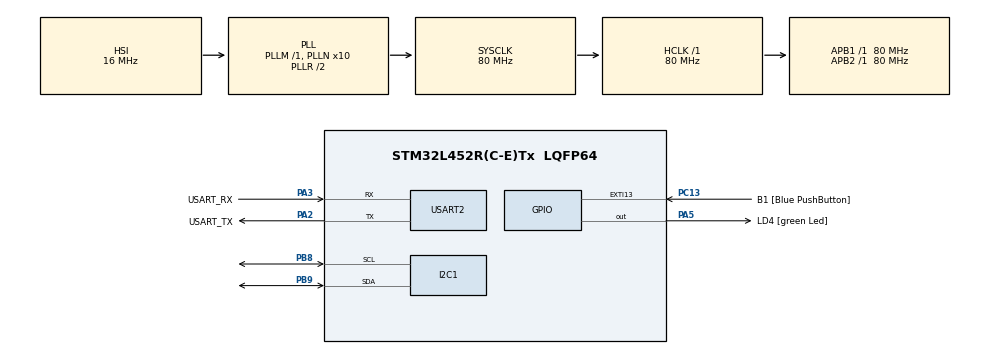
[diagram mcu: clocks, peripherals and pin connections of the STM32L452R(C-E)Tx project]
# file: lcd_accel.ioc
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I2C1.Timing=0x10909CEC
Mcu.Family=STM32L4
Mcu.Name=STM32L452R(C-E)Tx
Mcu.Package=LQFP64
NVIC.PriorityGroup=NVIC_PRIORITYGROUP_4
PA13\ (JTMS/SWDIO).GPIO_Label=TMS
PA13\ (JTMS/SWDIO).Mode=Serial_Wire
PA13\ (JTMS/SWDIO).Signal=SYS_JTMS-SWDIO
PA14\ (JTCK/SWCLK).GPIO_Label=TCK
PA14\ (JTCK/SWCLK).Mode=Serial_Wire
PA14\ (JTCK/SWCLK).Signal=SYS_JTCK-SWCLK
PA2.GPIO_Label=USART_TX
PA2.GPIO_Mode=GPIO_MODE_AF_PP
PA2.GPIO_PuPd=GPIO_NOPULL
PA2.GPIO_Speed=GPIO_SPEED_FREQ_VERY_HIGH
PA2.Mode=Asynchronous
PA2.Signal=USART2_TX
PA3.GPIO_Label=USART_RX
PA3.GPIO_Mode=GPIO_MODE_AF_PP
PA3.GPIO_PuPd=GPIO_NOPULL
PA3.GPIO_Speed=GPIO_SPEED_FREQ_VERY_HIGH
PA3.Mode=Asynchronous
PA3.Signal=USART2_RX
PA5.GPIO_Label=LD4 [green Led]
PA5.GPIO_ModeDefaultOutputPP=GPIO_MODE_OUTPUT_PP
PA5.GPIO_PuPd=GPIO_NOPULL
PA5.GPIO_Speed=GPIO_SPEED_FREQ_LOW
PA5.Signal=GPIO_Output
PB3\ (JTDO/TRACESWO).GPIO_Label=SWO
PB3\ (JTDO/TRACESWO).Signal=SYS_JTDO-SWO
PB8.Mode=I2C
PB8.Signal=I2C1_SCL
PB9.Mode=I2C
PB9.Signal=I2C1_SDA
PC13.GPIO_Label=B1 [Blue PushButton]
PC13.GPIO_ModeDefaultEXTI=GPIO_MODE_IT_FALLING
PC13.GPIO_PuPd=GPIO_NOPULL
PC13.Signal=GPXTI13
PC14-OSC32_IN\ (PC14).Mode=LSE-External-Oscillator
PC14-OSC32_IN\ (PC14).Signal=RCC_OSC32_IN
PC15-OSC32_OUT\ (PC15).Mode=LSE-External-Oscillator
PC15-OSC32_OUT\ (PC15).Signal=RCC_OSC32_OUT
PH0-OSC_IN\ (PH0).Signal=RCC_OSC_IN
PH1-OSC_OUT\ (PH1).Signal=RCC_OSC_OUT
ProjectManager.HeapSize=0x200
ProjectManager.StackSize=0x400
ProjectManager.TargetToolchain=STM32CubeIDE
RCC.ADCFreq_Value=64000000
RCC.AHBFreq_Value=80000000
RCC.APB1Freq_Value=80000000
RCC.APB1TimFreq_Value=80000000
RCC.APB2Freq_Value=80000000
RCC.APB2TimFreq_Value=80000000
RCC.CortexFreq_Value=80000000
RCC.HCLKFreq_Value=80000000
RCC.HSE_VALUE=8000000
RCC.HSI48_VALUE=48000000
RCC.HSI_VALUE=16000000
RCC.MSI_VALUE=4000000
RCC.PLLN=10
RCC.PLLSourceVirtual=RCC_PLLSOURCE_HSI
RCC.PREFETCH_ENABLE=1
RCC.SYSCLKFreq_VALUE=80000000
RCC.SYSCLKSource=RCC_SYSCLKSOURCE_PLLCLK
RCC.USBFreq_Value=64000000
RCC.VCOOutputFreq_Value=160000000
USART2.VirtualMode-Asynchronous=VM_ASYNC
board=NUCLEO-L452RE

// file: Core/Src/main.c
/* USER CODE BEGIN Header */
/**
  ******************************************************************************
  * @file           : main.c
  * @brief          : Main program body
  ******************************************************************************
  * @attention
  *
  * Copyright (c) 2023 STMicroelectronics.
  * All rights reserved.
  *
  * This software is licensed under terms that can be found in the LICENSE file
  * in the root directory of this software component.
  * If no LICENSE file comes with this software, it is provided AS-IS.
  *
  ******************************************************************************
  */
/* USER CODE END Header */
#include "main.h"

/* USER CODE BEGIN Includes */
#include <string.h>
#include <stdio.h>
/* USER CODE END Includes */

/* USER CODE BEGIN PD */

#define adxl_address 0x53<<1 // accelerometer

// from screen_cmds.h
#define SCREEN_ADDR	0x78									// i2c address from datasheet

#define COMMAND_CLEAR_DISPLAY						0x01
#define COMMAND_RETURN_HOME							0x02
#define COMMAND_ENTRY_MODE_SET						0x04
#define ENTRY_MODE_LEFT_TO_RIGHT					0x02
#define ENTRY_MODE_SHIFT_INCREMENT					0x01
#define COMMAND_CURSORSHIFT							0x10
#define CURSORSHIFT_MOVERIGHT						0x04
#define CURSORSHIFT_MOVELEFT						0x00

#define COMMAND_ADDRESS_DDRAM						0x80
#define COMMAND_ADDRESS_CGRAM                       0x40

#define COMMAND_8BIT_4LINES_NORMAL_RE1_IS0			0x3A  //Extended command access RE = 1
#define COMMAND_8BIT_4LINES_REVERSE_RE1_IS0			0x3B  //Extended command access RE = 1
#define COMMAND_8BIT_4LINES_RE0_IS1					0x39  //Extended command access IS = 1
#define COMMAND_8BIT_4LINES_RE0_IS0					0x38  //Normal mode...

//Command from extended set (RE = 1, IS = 0)
#define COMMAND_BS1_1								0x1E
#define COMMAND_POWER_DOWN_DISABLE					0x02
#define COMMAND_SEGMENT_TOP_VIEW					0x05
#define COMMAND_SEGMENT_BOTTOM_VIEW					0x06
#define COMMAND_NW									0x09

//Command from extended set (RE = 0, IS = 1)
#define COMMAND_DISPLAY_ON_CURSOR_ON_BLINK_ON		0x0F
#define COMMAND_DISPLAY_ON_CURSOR_ON_BLINK_OFF		0x0E
#define COMMAND_DISPLAY_ON_CURSOR_OFF_BLINK_OFF		0x0C
#define COMMAND_DISPLAY_OFF_CURSOR_OFF_BLINK_OFF	0x08
#define COMMAND_BS0_1								0x1B
#define COMMAND_INTERNAL_DIVIDER					0x13
#define COMMAND_CONTRAST							0x77
#define COMMAND_POWER_ICON_CONTRAST					0x5C
#define COMMAND_FOLLOWER_CONTROL					0x6E
#define COMMAND_POWER_BOOSTER_CONTRAST				0x57		//Booster on and set contrast (DB1=C5, DB0=C4)
#define COMMAND_SET_CONTRAST_1010					0x7A		//Booster on and set contrast (DB1=C5, DB0=C4)

// Cursor Commands
#define COMMAND_SET_CURSOR_LINE_1					0x80		//Move the cursor to line 1
#define COMMAND_SET_CURSOR_LINE_2					0xA0		//Move the cursor to line 1
#define COMMAND_SET_CURSOR_LINE_3					0xC0		//Move the cursor to line 1
#define COMMAND_SET_CURSOR_LINE_4					0xE0		//Move the cursor to line 1

#define LINE_LENGTH 10 // number of chars in a line (4x10 screen)

float xg, yg, zg;

/* USER CODE END PD */

I2C_HandleTypeDef hi2c1;

UART_HandleTypeDef huart2;

void SystemClock_Config(void);
static void MX_GPIO_Init(void);
static void MX_USART2_UART_Init(void);
static void MX_I2C1_Init(void);
/* USER CODE BEGIN PFP */

// accelerometer stuff

uint8_t data_rec[6];

int16_t x, y, z; // original: uint16-t

float xg, yg, zg;

void display_data (float);

char x_char[3];

// write function
void adxl_write (uint8_t reg, uint8_t value) {
	uint8_t data[2];
	data[0] = reg;
	data[1] = value;
	HAL_I2C_Master_Transmit (&hi2c1, adxl_address, data, 2, 10);
}

// read function
void adxl_read (uint8_t reg, uint8_t numberofbytes) {
	HAL_I2C_Mem_Read (&hi2c1, adxl_address, reg, 1, data_rec, numberofbytes, 100);
}

// initialization
void adxl_init (void) {
	adxl_read(0x00,1); // 0xE5

	adxl_write (0x2d, 0); // reset all bits
	adxl_write (0x2d, 0x08); // measure bit-1, wakeup 0, 0 at 8hz

	adxl_write (0x31, 0x01); // +- 4g range
}

//void display_data(float data) { // TODO check if UART output formatting is correct
//	sprintf (x_char, "%.4f", data); // needed to add -u _printf_float linker flag -- might have to change to %.4f
//	HAL_UART_Transmit(&huart2,x_char,strlen((char*)x_char),HAL_MAX_DELAY);
//}

// LCD stuff

void I2Csendcmd(uint8_t addr, uint8_t cmd) {
	uint8_t data[2];
	data[0] = 0x00;
	data[1] = cmd; // data byte (not data, but command)
	HAL_I2C_Master_Transmit (&hi2c1, addr, data, 2, HAL_MAX_DELAY);
}

void I2Csenddatum (uint8_t addr, uint8_t data) { // I2Csenddatum(SCREEN_ADDR, string_to_write[letter]);
	uint8_t datum[2];
	datum[0] = 0x40;
	datum[1] = data; // data byte (not data, but command)
	HAL_I2C_Master_Transmit (&hi2c1, addr, datum, 2, HAL_MAX_DELAY);
}

void screen_init(void){

	I2Csendcmd(SCREEN_ADDR, COMMAND_CLEAR_DISPLAY); // 0x78, 0x01
	I2Csendcmd(SCREEN_ADDR, COMMAND_8BIT_4LINES_NORMAL_RE1_IS0); // 0x3A
	I2Csendcmd(SCREEN_ADDR, COMMAND_NW);
	I2Csendcmd(SCREEN_ADDR, COMMAND_SEGMENT_BOTTOM_VIEW);
	I2Csendcmd(SCREEN_ADDR, COMMAND_BS1_1);
	I2Csendcmd(SCREEN_ADDR, COMMAND_8BIT_4LINES_RE0_IS1);
	I2Csendcmd(SCREEN_ADDR, COMMAND_BS0_1);
	I2Csendcmd(SCREEN_ADDR, COMMAND_FOLLOWER_CONTROL);
	I2Csendcmd(SCREEN_ADDR, COMMAND_POWER_BOOSTER_CONTRAST);
	I2Csendcmd(SCREEN_ADDR, COMMAND_SET_CONTRAST_1010);
	I2Csendcmd(SCREEN_ADDR, COMMAND_8BIT_4LINES_RE0_IS0);
	I2Csendcmd(SCREEN_ADDR, COMMAND_DISPLAY_ON_CURSOR_ON_BLINK_ON);

	I2Csendcmd(SCREEN_ADDR, COMMAND_CLEAR_DISPLAY);

}

void screen_write_string(char string_to_write[]) {

	int letter=0; // index for string

	I2Csendcmd(SCREEN_ADDR, COMMAND_CLEAR_DISPLAY);
	I2Csendcmd(SCREEN_ADDR, COMMAND_SET_CURSOR_LINE_1);
	int current_line = COMMAND_SET_CURSOR_LINE_1;

	while(string_to_write[letter]!='\0') // check if end of string
	{
		if ((letter != 0) && (letter % LINE_LENGTH == 0)) // move to a next line if index is a multiple of 10
		{
			if (current_line == COMMAND_SET_CURSOR_LINE_4){ // clear screen and put cursor to line 1 when screen is filled
				current_line = COMMAND_SET_CURSOR_LINE_1;// We've gone past the end of the line, go to the next one
				I2Csendcmd(SCREEN_ADDR, COMMAND_CLEAR_DISPLAY);
			}
			else {
				current_line = current_line+0x20;
				I2Csendcmd(SCREEN_ADDR, current_line); // We've gone past the end of the line, go to the next one
			}
		}

		I2Csenddatum(SCREEN_ADDR, string_to_write[letter]);
		letter++;
	}

}

void screen_write_xyz (float x, float y, float z) {

	char str_x[11]; // not 10 bc dont want cursor to do funky stuff if reach multiple of 10
	char str_y[11];
	char str_z[11];
	char str_xyz[30];

	for (int i=0; i<30; i++) {
		str_xyz[i] = '\0';
	}
	// check if all chars initialized to NULL

	sprintf (str_x, "X:%.4f  ", x); // check str_x
	sprintf (str_y, "Y:%.4f  ", y); // check str_y
	sprintf (str_z, "Z:%.4f  ", z); // check str_z

	strcpy (str_xyz, str_x);
	strcat (str_xyz, str_y);
	strcat (str_xyz, str_z);
	// check str_xyz

	screen_write_string(str_xyz);

}

void screen_write_accel_data (float x, float y, float z) {
	I2Csendcmd(SCREEN_ADDR, COMMAND_CLEAR_DISPLAY);
	screen_write_xyz(x,y,z);
	HAL_Delay(100);
}

/* USER CODE END PFP */

int main(void)
{

  /* MCU Configuration--------------------------------------------------------*/

  /* Reset of all peripherals, Initializes the Flash interface and the Systick. */
  HAL_Init();

  /* Configure the system clock */
  SystemClock_Config();

  /* Initialize all configured peripherals */
  MX_GPIO_Init();
  MX_USART2_UART_Init();
  MX_I2C1_Init();
  /* USER CODE BEGIN 2 */

  // initialize accelerometer
  adxl_init();

  // turn off display, turn on display (translated from PORTD section of Stewart's code)
    HAL_Delay(5);
    HAL_GPIO_WritePin(GPIOA, GPIO_PIN_0,GPIO_PIN_RESET);
    HAL_Delay(200);
    HAL_GPIO_WritePin(GPIOA, GPIO_PIN_0,GPIO_PIN_SET);
    HAL_Delay(5);

    //1. clear screen
    screen_init();

  /* USER CODE END 2 */

  /* Infinite loop */
  while (1)
  {

    /* USER CODE BEGIN 3 */

	  /*// TODO: uncomment section
	  adxl_read (0x32, 6);
	  x = (data_rec[1]<<8) | data_rec[0];
	  y = (data_rec[3]<<8) | data_rec[2];
	  z = (data_rec[5]<<8) | data_rec[4];

	  xg = x * .0078; // convert the x value to the g
	  yg = y * .0078;
	  zg = z * .0078;

	  // display data to screen
	  screen_write_accel_data(xg,yg,zg);
	  */
  }
  /* USER CODE END 3 */
}

void SystemClock_Config(void)
{
  RCC_OscInitTypeDef RCC_OscInitStruct = {0};
  RCC_ClkInitTypeDef RCC_ClkInitStruct = {0};

  /** Configure the main internal regulator output voltage
  */
  if (HAL_PWREx_ControlVoltageScaling(PWR_REGULATOR_VOLTAGE_SCALE1) != HAL_OK)
  {
    Error_Handler();
  }

  /** Initializes the RCC Oscillators according to the specified parameters
  * in the RCC_OscInitTypeDef structure.
  */
  RCC_OscInitStruct.OscillatorType = RCC_OSCILLATORTYPE_HSI;
  RCC_OscInitStruct.HSIState = RCC_HSI_ON;
  RCC_OscInitStruct.HSICalibrationValue = RCC_HSICALIBRATION_DEFAULT;
  RCC_OscInitStruct.PLL.PLLState = RCC_PLL_ON;
  RCC_OscInitStruct.PLL.PLLSource = RCC_PLLSOURCE_HSI;
  RCC_OscInitStruct.PLL.PLLM = 1;
  RCC_OscInitStruct.PLL.PLLN = 10;
  RCC_OscInitStruct.PLL.PLLP = RCC_PLLP_DIV7;
  RCC_OscInitStruct.PLL.PLLQ = RCC_PLLQ_DIV2;
  RCC_OscInitStruct.PLL.PLLR = RCC_PLLR_DIV2;
  if (HAL_RCC_OscConfig(&RCC_OscInitStruct) != HAL_OK)
  {
    Error_Handler();
  }

  /** Initializes the CPU, AHB and APB buses clocks
  */
  RCC_ClkInitStruct.ClockType = RCC_CLOCKTYPE_HCLK|RCC_CLOCKTYPE_SYSCLK
                              |RCC_CLOCKTYPE_PCLK1|RCC_CLOCKTYPE_PCLK2;
  RCC_ClkInitStruct.SYSCLKSource = RCC_SYSCLKSOURCE_PLLCLK;
  RCC_ClkInitStruct.AHBCLKDivider = RCC_SYSCLK_DIV1;
  RCC_ClkInitStruct.APB1CLKDivider = RCC_HCLK_DIV1;
  RCC_ClkInitStruct.APB2CLKDivider = RCC_HCLK_DIV1;

  if (HAL_RCC_ClockConfig(&RCC_ClkInitStruct, FLASH_LATENCY_4) != HAL_OK)
  {
    Error_Handler();
  }
}

static void MX_I2C1_Init(void)
{

  hi2c1.Instance = I2C1;
  hi2c1.Init.Timing = 0x10909CEC;
  hi2c1.Init.OwnAddress1 = 0;
  hi2c1.Init.AddressingMode = I2C_ADDRESSINGMODE_7BIT;
  hi2c1.Init.DualAddressMode = I2C_DUALADDRESS_DISABLE;
  hi2c1.Init.OwnAddress2 = 0;
  hi2c1.Init.OwnAddress2Masks = I2C_OA2_NOMASK;
  hi2c1.Init.GeneralCallMode = I2C_GENERALCALL_DISABLE;
  hi2c1.Init.NoStretchMode = I2C_NOSTRETCH_DISABLE;
  if (HAL_I2C_Init(&hi2c1) != HAL_OK)
  {
    Error_Handler();
  }

  /** Configure Analogue filter
  */
  if (HAL_I2CEx_ConfigAnalogFilter(&hi2c1, I2C_ANALOGFILTER_ENABLE) != HAL_OK)
  {
    Error_Handler();
  }

  /** Configure Digital filter
  */
  if (HAL_I2CEx_ConfigDigitalFilter(&hi2c1, 0) != HAL_OK)
  {
    Error_Handler();
  }

}

static void MX_USART2_UART_Init(void)
{

  huart2.Instance = USART2;
  huart2.Init.BaudRate = 115200;
  huart2.Init.WordLength = UART_WORDLENGTH_8B;
  huart2.Init.StopBits = UART_STOPBITS_1;
  huart2.Init.Parity = UART_PARITY_NONE;
  huart2.Init.Mode = UART_MODE_TX_RX;
  huart2.Init.HwFlowCtl = UART_HWCONTROL_NONE;
  huart2.Init.OverSampling = UART_OVERSAMPLING_16;
  huart2.Init.OneBitSampling = UART_ONE_BIT_SAMPLE_DISABLE;
  huart2.AdvancedInit.AdvFeatureInit = UART_ADVFEATURE_NO_INIT;
  if (HAL_UART_Init(&huart2) != HAL_OK)
  {
    Error_Handler();
  }

}

static void MX_GPIO_Init(void)
{
  GPIO_InitTypeDef GPIO_InitStruct = {0};

  /* GPIO Ports Clock Enable */
  __HAL_RCC_GPIOC_CLK_ENABLE();
  __HAL_RCC_GPIOH_CLK_ENABLE();
  __HAL_RCC_GPIOA_CLK_ENABLE();
  __HAL_RCC_GPIOB_CLK_ENABLE();

  /*Configure GPIO pin Output Level */
  HAL_GPIO_WritePin(LD4_GPIO_Port, LD4_Pin, GPIO_PIN_RESET);

  /*Configure GPIO pin : B1_Pin */
  GPIO_InitStruct.Pin = B1_Pin;
  GPIO_InitStruct.Mode = GPIO_MODE_IT_FALLING;
  GPIO_InitStruct.Pull = GPIO_NOPULL;
  HAL_GPIO_Init(B1_GPIO_Port, &GPIO_InitStruct);

  /*Configure GPIO pin : LD4_Pin */
  GPIO_InitStruct.Pin = LD4_Pin;
  GPIO_InitStruct.Mode = GPIO_MODE_OUTPUT_PP;
  GPIO_InitStruct.Pull = GPIO_NOPULL;
  GPIO_InitStruct.Speed = GPIO_SPEED_FREQ_LOW;
  HAL_GPIO_Init(LD4_GPIO_Port, &GPIO_InitStruct);

}

void Error_Handler(void)
{
  __disable_irq();
  while (1)
  {
  }
}
